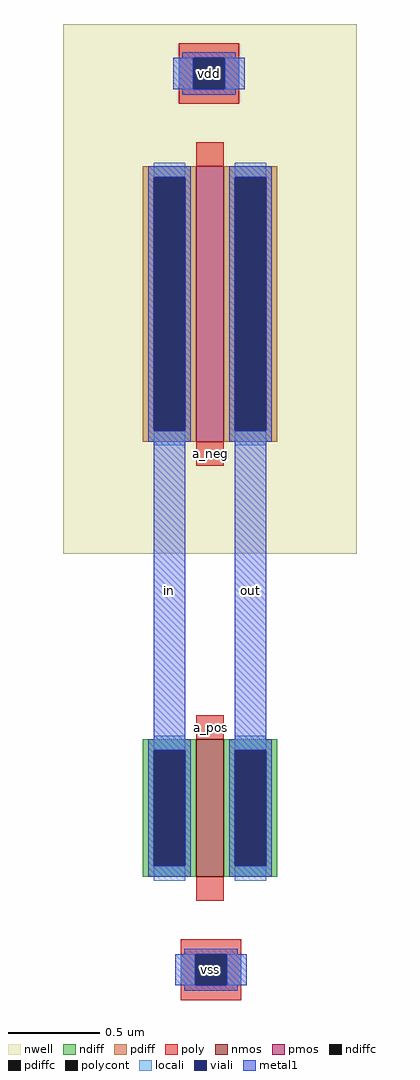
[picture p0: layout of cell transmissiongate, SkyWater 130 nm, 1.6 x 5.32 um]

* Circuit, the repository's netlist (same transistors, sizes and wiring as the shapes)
* Extracted by KLayout with SG13G2 LVS runset on : 13/03/2026 06:21

.SUBCKT transmissiongate
M$1 \$3 \$5 \$4 \$1 sg13_lv_nmos L=0.15u W=0.75u AS=0.255p AD=0.255p PS=2.18u
+ PD=2.18u
M$2 \$3 \$6 \$4 \$2 sg13_lv_pmos L=0.15u W=1.5u AS=0.51p AD=0.51p PS=3.68u
+ PD=3.68u
.ENDS transmissiongate

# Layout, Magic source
magic
tech sky130A
magscale 1 2
<< nwell >>
rect 0 486 320 1063
<< metal1 >>
rect 99 272 133 620
rect 187 272 221 620
use sky130_fd_pr__nfet_01v8_KRUHEH  sky130_fd_pr__nfet_01v8_KRUHEH_0
transform 1 0 160 0 1 209
box -73 -101 73 101
use sky130_fd_pr__pfet_01v8_MDJ67A  sky130_fd_pr__pfet_01v8_MDJ67A_0
transform 1 0 160 0 1 758
box -109 -212 109 212
use viapoly_M1  viapoly_M1_0
transform 1 0 86 0 1 778
box 34 198 112 264
use viapoly_M1  viapoly_M1_1
transform 1 0 88 0 1 -198
box 34 198 112 264
<< labels >>
rlabel metal1 99 272 133 620 1 in
rlabel metal1 187 272 221 620 1 out
rlabel nwell 145 582 175 608 1 a_neg
rlabel nwell 126 976 192 1042 1 vdd
rlabel space 145 284 175 310 1 a_pos
rlabel space 128 0 194 66 1 vss
<< end >>

# cell sky130_fd_pr__nfet_01v8_KRUHEH: kit device sky130_fd_pr__nfet_01v8, w 0.75 l 0.150 m 1 nf 1 diffcov 100 polycov 100 guard 0 glc 0 grc 0 gtc 0 gbc 0 tbcov 100 rlcov 100 topc 0 botc 0 poverlap 0 doverlap 0 lmin 0.15 wmin 0.42 class mosfet compatible {sky130_fd_pr__nfet_01v8 sky130_fd_pr__nfet_01v8_lvt sky130_fd_bs_flash__special_sonosfet_star sky130_fd_pr__nfet_g5v0d10v5 sky130_fd_pr__nfet_05v0_nvt sky130_fd_pr__nfet_03v3_nvt} full_metal 0 viasrc 100 viadrn 100 viagate 100 viagb 0 viagr 0 viagl 0 viagt 0

# cell sky130_fd_pr__pfet_01v8_MDJ67A: kit device sky130_fd_pr__pfet_01v8, w 1.5 l 0.15 m 1 nf 1 diffcov 100 polycov 100 guard 0 glc 0 grc 0 gtc 0 gbc 0 tbcov 100 rlcov 100 topc 0 botc 0 poverlap 0 doverlap 0 lmin 0.15 wmin 0.42 class mosfet compatible {sky130_fd_pr__pfet_01v8 sky130_fd_pr__pfet_01v8_lvt sky130_fd_pr__pfet_01v8_hvt sky130_fd_pr__pfet_g5v0d10v5} full_metal 0 viasrc 100 viadrn 100 viagate 100 viagb 0 viagr 0 viagl 0 viagt 0

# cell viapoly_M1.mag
magic
tech sky130A
magscale 1 2
use sky130_fd_pr__nfet_01v8_3Y5EQC__0  sky130_fd_pr__nfet_01v8_3Y5EQC_0
transform 1 0 73 0 1 132
box -39 66 39 132
<< end >>

# cell sky130_fd_pr__nfet_01v8_3Y5EQC__0: kit device sky130_fd_pr__nfet_01v8, w 0.75 l 0.150 m 1 nf 1 diffcov 100 polycov 100 guard 0 glc 0 grc 0 gtc 0 gbc 0 tbcov 100 rlcov 100 topc 1 botc 0 poverlap 0 doverlap 1 lmin 0.15 wmin 0.42 compatible {sky130_fd_pr__nfet_01v8 sky130_fd_pr__nfet_01v8_lvt sky130_fd_bs_flash__special_sonosfet_star sky130_fd_pr__nfet_g5v0d10v5 sky130_fd_pr__nfet_05v0_nvt sky130_fd_pr__nfet_03v3_nvt} full_metal 0 viasrc 100 viadrn 100 viagate 100 viagb 0 viagr 0 viagl 0 viagt 0
